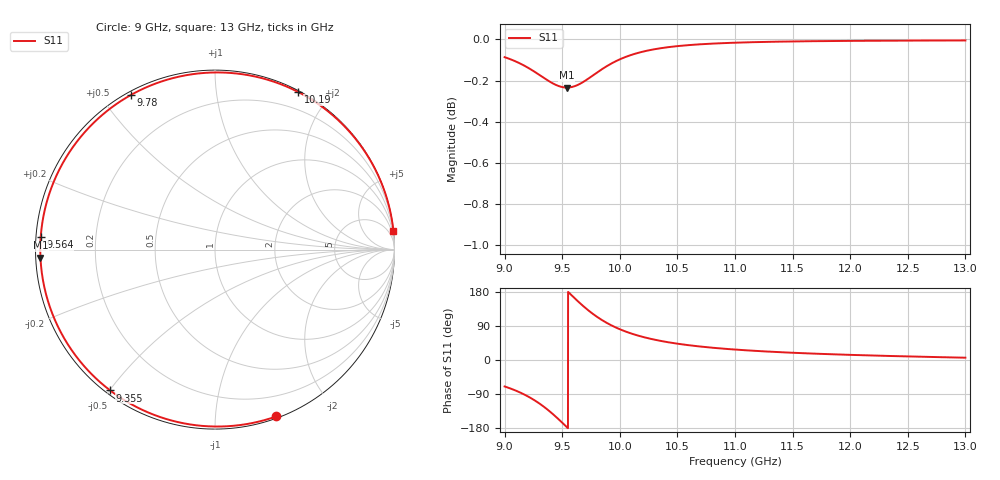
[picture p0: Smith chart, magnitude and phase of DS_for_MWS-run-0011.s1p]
! TOUCHSTONE file generated by CST DESIGN STUDIO
! Date and time: Tue Feb  4 15:56:25 2025
! Project name: C:\Work\MatlabApps\UnitCellOptimizationMatlab\CST\unitcell.cst
! Tree item: Tasks\Sweep1\SPara1\S-Parameters
! Header version: 2024
! Port assignment regex: !\s*Touchstone port\s*([0-9]+)\s*=\s*(CST MWS port|CST DES external port|CST DES block port)\s*(.+)\s* \(\"(.*)\"\)(\s*mode\s*([0-9]+))?.*
! Touchstone port assignment:
! Touchstone port 1 = CST DES external port 1 ("")
# GHz S MA R 50
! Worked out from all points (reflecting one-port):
!   4001 points, 9 GHz to 13 GHz, reference 50 ohm
!   lowest |S11| = -0.2 dB at 9.541 GHz (marker M1), VSWR 74.31, Z = 0.673 - j1.16 ohm
!   phase of S11 starts at -70 deg and turns -284 deg over the sweep
!   S11 on the Smith chart (normalised r, x): 9 GHz: 0.02, -1.43; 9.355 GHz: 0.01, -0.50; 9.564 GHz: 0.01, +0.04; 9.78 GHz: 0.01, +0.59; 10.19 GHz: 0.01, +1.66; 13 GHz: 0, +19
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9  0.9902 -69.8
9.101  0.9877 -81.3
9.211  0.984 -97.5
9.287  0.981 -111.7
9.355  0.9781 -126.6
9.425  0.9755 -144.3
9.464  0.9744 -155.0
9.5  0.9737 -165.3
9.541  0.9734 -177.3
9.564  0.9735 175.9
9.619  0.9744 159.9
9.679  0.9764 143.3
9.729  0.9784 130.5
9.78  0.9807 118.7
9.827  0.9827 108.9
9.878  0.9848 99.4
9.934  0.9869 90.4
10  0.9889 81.2
10.089  0.9912 71.0
10.185  0.993 62.1
10.329  0.9949 51.9
10.5  0.9963 43.0
10.721  0.9974 34.8
11  0.9982 27.6
11.5  0.9989 19.1
12  0.9992 13.5
12.5  0.9994 9.4
13  0.9995 6.1
